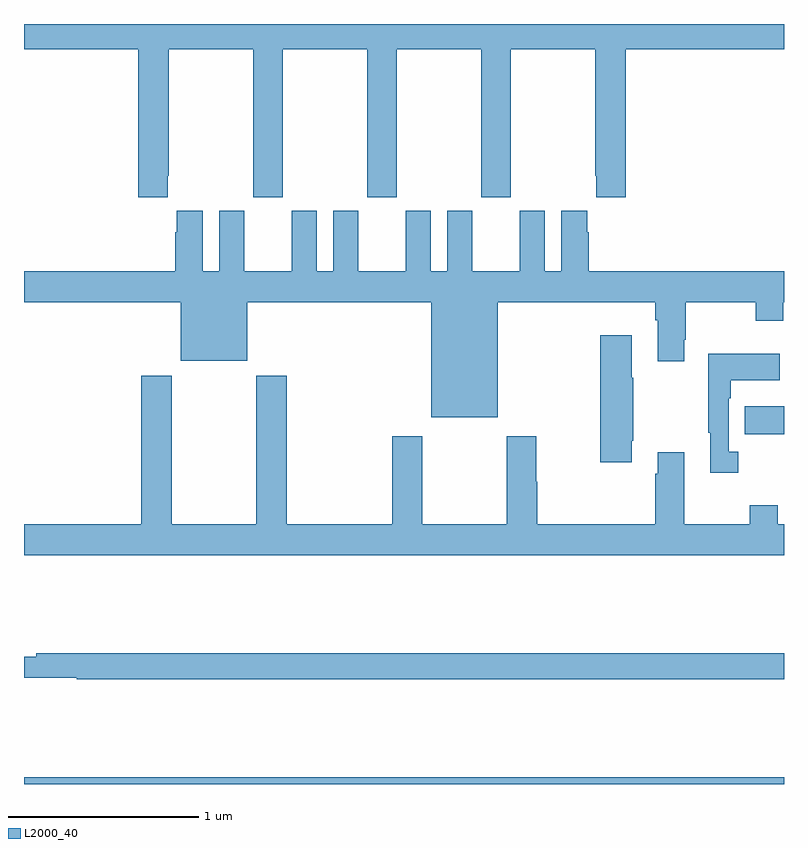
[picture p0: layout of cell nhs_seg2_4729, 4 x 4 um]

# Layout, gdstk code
import gdstk
lib = gdstk.Library(unit=1e-6, precision=1e-09)
def R(c, l, rs):  # rectangles x0, y0, x1, y1
    for r in rs: c.add(gdstk.rectangle(r[:2], r[2:], *l))
def P(c, l, *ps):  # polygons
    for p in ps: c.add(gdstk.Polygon(p, *l))
L2000_40 = (2000, 40)

nhs_seg2_4729 = lib.new_cell('nhs_seg2_4729')
R(nhs_seg2_4729, L2000_40, [(369,611.8,373,611.836), (372.793,613.642,373,613.789)])
P(nhs_seg2_4729, L2000_40, [(369.757,615.001),(369.762,615.001),(369.762,615.668),(370.207,615.668),(370.207,614.889),(370.362,614.889),(370.362,615.668),(370.807,615.668),(370.807,614.889),(370.962,614.889),(370.962,615.668),(371.407,615.668),(371.407,614.889),(371.562,614.889),(371.562,615.668),(372.007,615.668),(372.007,615.001),(372.011,615.001),(372.011,614.889),(372.167,614.889),(372.167,615.668),(373,615.668),(373,615.8),(369,615.8),(369,615.668),(369.602,615.668),(369.602,614.889),(369.757,614.889)],
  [(371.494,614.336),(372.323,614.336),(372.323,614.24),(372.335,614.24),(372.335,614.025),(372.475,614.025),(372.475,614.137),(372.483,614.137),(372.483,614.336),(372.85,614.336),(372.85,614.237),(372.996,614.237),(372.996,614.336),(373,614.336),(373,614.5),(371.972,614.5),(371.972,614.705),(371.965,614.705),(371.965,614.818),(371.828,614.818),(371.828,614.5),(371.74,614.5),(371.74,614.818),(371.609,614.818),(371.609,614.5),(371.359,614.5),(371.359,614.818),(371.228,614.818),(371.228,614.5),(371.14,614.5),(371.14,614.818),(371.009,614.818),(371.009,614.5),(370.759,614.5),(370.759,614.818),(370.628,614.818),(370.628,614.5),(370.54,614.5),(370.54,614.818),(370.409,614.818),(370.409,614.5),(370.159,614.5),(370.159,614.818),(370.028,614.818),(370.028,614.5),(369.94,614.5),(369.94,614.818),(369.803,614.818),(369.803,614.705),(369.797,614.705),(369.797,614.5),(369,614.5),(369,614.336),(369.824,614.336),(369.824,614.027),(370.174,614.027),(370.174,614.336),(371.144,614.336),(371.144,613.73),(371.494,613.73)],
  [(372.199,613.606),(372.207,613.606),(372.207,613.937),(372.199,613.937),(372.199,614.161),(372.032,614.161),(372.032,613.494),(372.199,613.494)],
  [(372.76,613.55),(372.708,613.55),(372.708,613.829),(372.721,613.829),(372.721,613.925),(372.977,613.925),(372.977,614.065),(372.6,614.065),(372.6,613.649),(372.611,613.649),(372.611,613.437),(372.76,613.437)],
  [(373,613.168),(372.967,613.168),(372.967,613.267),(372.82,613.267),(372.82,613.168),(372.475,613.168),(372.475,613.546),(372.335,613.546),(372.335,613.433),(372.323,613.433),(372.323,613.168),(371.702,613.168),(371.702,613.391),(371.697,613.391),(371.697,613.63),(371.542,613.63),(371.542,613.168),(371.097,613.168),(371.097,613.63),(370.937,613.63),(370.937,613.168),(370.382,613.168),(370.382,613.948),(370.222,613.948),(370.222,613.168),(369.777,613.168),(369.777,613.948),(369.617,613.948),(369.617,613.168),(369,613.168),(369,613.004),(373,613.004)],
  [(373,612.488),(369.064,612.488),(369.064,612.469),(369,612.469),(369,612.36),(369.278,612.36),(369.278,612.352),(373,612.352)])

lib.write_gds('nhs_seg2_4729.gds')
